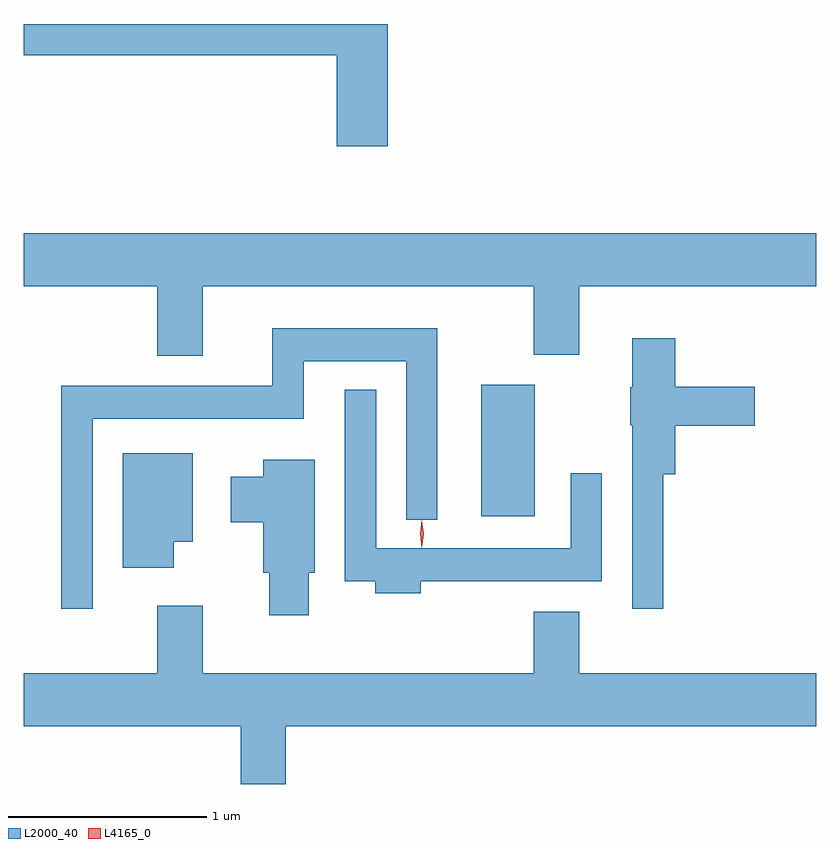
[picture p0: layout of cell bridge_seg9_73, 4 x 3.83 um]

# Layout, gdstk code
import gdstk
lib = gdstk.Library(unit=1e-6, precision=1e-09)
def R(c, l, rs):  # rectangles x0, y0, x1, y1
    for r in rs: c.add(gdstk.rectangle(r[:2], r[2:], *l))
def P(c, l, *ps):  # polygons
    for p in ps: c.add(gdstk.Polygon(p, *l))
L2000_40 = (2000, 40)
L4165_0 = (4165, 0)

bridge_seg9_73 = lib.new_cell('bridge_seg9_73')
R(bridge_seg9_73, L2000_40, [(1501.746,1961.796,1502.014,1962.459)])
P(bridge_seg9_73, L2000_40, [(1501.274,1964.279),(1499.436,1964.279),(1499.436,1964.121),(1501.016,1964.121),(1501.016,1963.661),(1501.274,1963.661)],
  [(1500.339,1962.956),(1502.011,1962.956),(1502.011,1962.611),(1502.239,1962.611),(1502.239,1962.956),(1503.436,1962.956),(1503.436,1963.224),(1499.436,1963.224),(1499.436,1962.956),(1500.111,1962.956),(1500.111,1962.606),(1500.339,1962.606)],
  [(1499.784,1962.286),(1500.849,1962.286),(1500.849,1962.576),(1501.366,1962.576),(1501.366,1961.778),(1501.524,1961.778),(1501.524,1962.744),(1500.691,1962.744),(1500.691,1962.454),(1499.626,1962.454),(1499.626,1961.328),(1499.784,1961.328)],
  [(1502.664,1962.006),(1502.724,1962.006),(1502.724,1962.251),(1503.124,1962.251),(1503.124,1962.449),(1502.724,1962.449),(1502.724,1962.694),(1502.506,1962.694),(1502.506,1962.445),(1502.496,1962.445),(1502.496,1962.255),(1502.506,1962.255),(1502.506,1961.328),(1502.664,1961.328)],
  [(1501.439,1961.466),(1502.354,1961.466),(1502.354,1962.013),(1502.196,1962.013),(1502.196,1961.634),(1501.214,1961.634),(1501.214,1962.433),(1501.056,1962.433),(1501.056,1961.466),(1501.211,1961.466),(1501.211,1961.406),(1501.439,1961.406)],
  [(1500.194,1961.666),(1500.289,1961.666),(1500.289,1962.114),(1499.936,1962.114),(1499.936,1961.536),(1500.194,1961.536)],
  [(1500.874,1961.511),(1500.904,1961.511),(1500.904,1962.079),(1500.646,1962.079),(1500.646,1961.994),(1500.481,1961.994),(1500.481,1961.766),(1500.646,1961.766),(1500.646,1961.511),(1500.676,1961.511),(1500.676,1961.296),(1500.874,1961.296)],
  [(1500.759,1960.736),(1503.436,1960.736),(1503.436,1961.004),(1502.239,1961.004),(1502.239,1961.314),(1502.011,1961.314),(1502.011,1961.004),(1500.339,1961.004),(1500.339,1961.344),(1500.111,1961.344),(1500.111,1961.004),(1499.436,1961.004),(1499.436,1960.736),(1500.531,1960.736),(1500.531,1960.444),(1500.759,1960.444)])
P(bridge_seg9_73, L4165_0, [(1501.445,1961.637),(1501.436,1961.707),(1501.445,1961.776),(1501.446,1961.776),(1501.446,1961.776),(1501.456,1961.707),(1501.446,1961.637),(1501.446,1961.637)])

lib.write_gds('bridge_seg9_73.gds')
